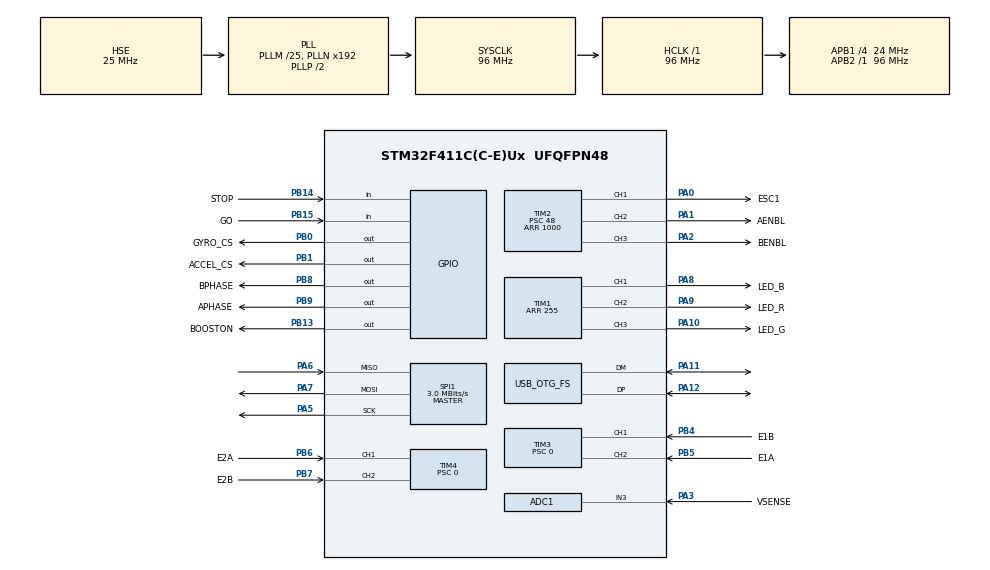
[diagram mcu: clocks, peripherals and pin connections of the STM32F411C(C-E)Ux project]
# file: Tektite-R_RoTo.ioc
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ADC1.Channel-0\#ChannelRegularConversion=ADC_CHANNEL_3
ADC1.NbrOfConversionFlag=1
ADC1.Rank-0\#ChannelRegularConversion=1
ADC1.SamplingTime-0\#ChannelRegularConversion=ADC_SAMPLETIME_3CYCLES
ADC1.master=1
Mcu.Family=STM32F4
Mcu.Name=STM32F411C(C-E)Ux
Mcu.Package=UFQFPN48
NVIC.OTG_FS_IRQn=true\:0\:0\:false\:false\:true\:false\:true\:true
NVIC.PriorityGroup=NVIC_PRIORITYGROUP_4
NimaLTD.I-CUBE-SPIF.2.3.1.DriverJjSPIF=true
NimaLTD.I-CUBE-SPIF.2.3.1.SPIF_DEBUG=SPIF_DEBUG_DISABLE
PA0-WKUP.GPIO_Label=ESC1
PA0-WKUP.Signal=S_TIM2_CH1_ETR
PA1.GPIO_Label=AENBL
PA1.Signal=S_TIM2_CH2
PA10.GPIO_Label=LED_G
PA10.Signal=S_TIM1_CH3
PA11.Mode=Device_Only
PA11.Signal=USB_OTG_FS_DM
PA12.Mode=Device_Only
PA12.Signal=USB_OTG_FS_DP
PA13.Mode=Serial_Wire
PA13.Signal=SYS_JTMS-SWDIO
PA14.Mode=Serial_Wire
PA14.Signal=SYS_JTCK-SWCLK
PA2.GPIO_Label=BENBL
PA2.Signal=S_TIM2_CH3
PA3.GPIO_Label=VSENSE
PA3.Signal=ADCx_IN3
PA5.Mode=Full_Duplex_Master
PA5.Signal=SPI1_SCK
PA6.Mode=Full_Duplex_Master
PA6.Signal=SPI1_MISO
PA7.Mode=Full_Duplex_Master
PA7.Signal=SPI1_MOSI
PA8.GPIO_Label=LED_B
PA8.Signal=S_TIM1_CH1
PA9.GPIO_Label=LED_R
PA9.Signal=S_TIM1_CH2
PB0.GPIO_Label=GYRO_CS
PB0.GPIO_Speed=GPIO_SPEED_FREQ_VERY_HIGH
PB0.PinState=GPIO_PIN_SET
PB0.Signal=GPIO_Output
PB1.GPIO_Label=ACCEL_CS
PB1.GPIO_Speed=GPIO_SPEED_FREQ_VERY_HIGH
PB1.PinState=GPIO_PIN_SET
PB1.Signal=GPIO_Output
PB13.GPIO_Label=BOOSTON
PB13.GPIO_PuPd=GPIO_PULLDOWN
PB13.Signal=GPIO_Output
PB14.GPIO_Label=STOP
PB14.GPIO_PuPd=GPIO_PULLUP
PB14.Signal=GPIO_Input
PB15.GPIO_Label=GO
PB15.GPIO_PuPd=GPIO_PULLUP
PB15.Signal=GPIO_Input
PB4.GPIO_Label=E1B
PB4.Signal=S_TIM3_CH1
PB5.GPIO_Label=E1A
PB5.Signal=S_TIM3_CH2
PB6.GPIO_Label=E2A
PB6.Signal=S_TIM4_CH1
PB7.GPIO_Label=E2B
PB7.Signal=S_TIM4_CH2
PB8.GPIO_Label=BPHASE
PB8.GPIO_Speed=GPIO_SPEED_FREQ_HIGH
PB8.Signal=GPIO_Output
PB9.GPIO_Label=APHASE
PB9.GPIO_Speed=GPIO_SPEED_FREQ_HIGH
PB9.Signal=GPIO_Output
PH0\ -\ OSC_IN.Mode=HSE-External-Oscillator
PH0\ -\ OSC_IN.Signal=RCC_OSC_IN
PH1\ -\ OSC_OUT.Mode=HSE-External-Oscillator
PH1\ -\ OSC_OUT.Signal=RCC_OSC_OUT
ProjectManager.HeapSize=0x200
ProjectManager.StackSize=0x400
ProjectManager.TargetToolchain=STM32CubeIDE
RCC.48MHZClocksFreq_Value=48000000
RCC.AHBFreq_Value=96000000
RCC.APB1CLKDivider=RCC_HCLK_DIV4
RCC.APB1Freq_Value=24000000
RCC.APB1TimFreq_Value=48000000
RCC.APB2Freq_Value=96000000
RCC.APB2TimFreq_Value=96000000
RCC.CortexFreq_Value=96000000
RCC.HCLKFreq_Value=96000000
RCC.HSE_VALUE=25000000
RCC.HSI_VALUE=16000000
RCC.LSE_VALUE=32768
RCC.PLLM=25
RCC.SYSCLKFreq_VALUE=96000000
RCC.SYSCLKSource=RCC_SYSCLKSOURCE_PLLCLK
RCC.VCOOutputFreq_Value=192000000
SH.ADCx_IN3.0=ADC1_IN3,IN3
SH.S_TIM1_CH1.0=TIM1_CH1,PWM Generation1 CH1
SH.S_TIM1_CH2.0=TIM1_CH2,PWM Generation2 CH2
SH.S_TIM1_CH3.0=TIM1_CH3,PWM Generation3 CH3
SH.S_TIM2_CH1_ETR.0=TIM2_CH1,PWM Generation1 CH1
SH.S_TIM2_CH2.0=TIM2_CH2,PWM Generation2 CH2
SH.S_TIM2_CH3.0=TIM2_CH3,PWM Generation3 CH3
SH.S_TIM3_CH1.0=TIM3_CH1,Encoder_Interface
SH.S_TIM3_CH2.0=TIM3_CH2,Encoder_Interface
SH.S_TIM4_CH1.0=TIM4_CH1,Encoder_Interface
SH.S_TIM4_CH2.0=TIM4_CH2,Encoder_Interface
SPI1.BaudRatePrescaler=SPI_BAUDRATEPRESCALER_32
SPI1.CalculateBaudRate=3.0 MBits/s
SPI1.DataSize=SPI_DATASIZE_8BIT
SPI1.Direction=SPI_DIRECTION_2LINES
SPI1.Mode=SPI_MODE_MASTER
SPI1.VirtualType=VM_MASTER
TIM1.AutoReloadPreload=TIM_AUTORELOAD_PRELOAD_ENABLE
TIM1.Channel-PWM\ Generation1\ CH1=TIM_CHANNEL_1
TIM1.Channel-PWM\ Generation2\ CH2=TIM_CHANNEL_2
TIM1.Channel-PWM\ Generation3\ CH3=TIM_CHANNEL_3
TIM1.Period=255
TIM2.Channel-PWM\ Generation1\ CH1=TIM_CHANNEL_1
TIM2.Channel-PWM\ Generation2\ CH2=TIM_CHANNEL_2
TIM2.Channel-PWM\ Generation3\ CH3=TIM_CHANNEL_3
TIM2.Period=1000
TIM2.Prescaler=48
TIM3.AutoReloadPreload=TIM_AUTORELOAD_PRELOAD_DISABLE
TIM3.CounterMode=TIM_COUNTERMODE_UP
TIM3.EncoderMode=TIM_ENCODERMODE_TI2
TIM3.IC1Filter=15
TIM3.IC2Filter=15
TIM3.Prescaler=0
TIM3.TIM_MasterOutputTrigger=TIM_TRGO_RESET
TIM4.AutoReloadPreload=TIM_AUTORELOAD_PRELOAD_DISABLE
TIM4.EncoderMode=TIM_ENCODERMODE_TI2
TIM4.IC1Filter=15
TIM4.IC2Filter=15
TIM4.Prescaler=0
USB_DEVICE.CLASS_NAME_FS=CDC
USB_DEVICE.VirtualMode=Cdc
USB_DEVICE.VirtualModeFS=Cdc_FS
USB_OTG_FS.VirtualMode=Device_Only
VP_NimaLTD.I-CUBE-SPIF_VS_DriverJjSPIF_1.0.0_2.3.1.Mode=DriverJjSPIF
VP_TIM1_VS_ClockSourceINT.Mode=Internal
VP_TIM2_VS_ClockSourceINT.Mode=Internal
VP_USB_DEVICE_VS_USB_DEVICE_CDC_FS.Mode=CDC_FS
board=custom

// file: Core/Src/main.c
/* USER CODE BEGIN Header */
/**
  ******************************************************************************
  * @file           : main.c
  * @brief          : Main program body
  ******************************************************************************
  * @attention
  *
  * Copyright (c) 2024 STMicroelectronics.
  * All rights reserved.
  *
  * This software is licensed under terms that can be found in the LICENSE file
  * in the root directory of this software component.
  * If no LICENSE file comes with this software, it is provided AS-IS.
  *
  ******************************************************************************
  */
/* USER CODE END Header */
#include "main.h"
#include "adc.h"
#include "spi.h"
#include "tim.h"
#include "usb_device.h"
#include "gpio.h"

/* USER CODE BEGIN Includes */
#include "peripheral.h"
#include "connection.h"
#include "control.h"
/* USER CODE END Includes */

void SystemClock_Config(void);

int main(void)
{

  /* MCU Configuration--------------------------------------------------------*/

  /* Reset of all peripherals, Initializes the Flash interface and the Systick. */
  HAL_Init();

  /* Configure the system clock */
  SystemClock_Config();

  /* Initialize all configured peripherals */
  MX_GPIO_Init();
  MX_SPI1_Init();
  MX_USB_DEVICE_Init();
  MX_TIM2_Init();
  MX_TIM1_Init();
  MX_ADC1_Init();
  MX_TIM3_Init();
  MX_TIM4_Init();
  /* USER CODE BEGIN 2 */
  PeripheralInit();
  ReadData();
  EncoderReset();

  /*uint32_t lastPrint = HAL_GetTick();
  bool moving = false;
  uint32_t currT = GetMicros();
  float ang = 0.0;*/

  float v = BattVoltage();

  /* USER CODE END 2 */

  /* Infinite loop */
  while (1)
  {

    /* USER CODE BEGIN 3 */
	ConnectionUpdate();
	if (v > 5.0) {
		LEDWrite(64, 64, 64);
	} else {
		LEDWrite(64, 0, 0);
	}

	if (GOPressed()) {
		while (GOPressed()) {
			LEDWrite(0, 255, 0);
			EncoderReset();
		}
		RunMoves();
		v = BattVoltage();
	} else if (STOPPressed()) {
		while (STOPPressed()) {
			LEDWrite(255, 0, 0);
		}
	}
	  /*if (GOPressed()) {
		  if (moving) {
		  	  M1Write(-0.15);
		  	  M2Write(-0.15);
		  } else {
			  while (GOPressed()) {
				  LEDWrite(0, 255, 0);
			  }
			  M1Write(0.15);
			  M2Write(0.15);
			  moving = true;
		  }
	  } else if (STOPPressed()) {
		  M1Write(0.0);
		  M2Write(0.0);
		  moving = false;
	  }
	  EncoderUpdate();
	  if (HAL_GetTick() - lastPrint > 50) {
		  lastPrint = HAL_GetTick();
		  printf("m1t:%d,m2t:%d,m1v:%f,m2v:%f,ang:%f\n", M1Ticks, M2Ticks, M1Vel, M2Vel, ang*57.32);
	  }

	  // 200Hz control loop w/ 10,000 hz angle measurement
	  uint32_t delayStart = HAL_GetTick();
	  while (HAL_GetTick() - delayStart < 5) {
		  uint32_t newT = GetMicros();
		  ang += ((float)(newT - currT))/1000000.0f * GetGZ();
		  currT = newT;
		  while (GetMicros() - currT < 100);
	  }*/
  }
  /* USER CODE END 3 */
}

void SystemClock_Config(void)
{
  RCC_OscInitTypeDef RCC_OscInitStruct = {0};
  RCC_ClkInitTypeDef RCC_ClkInitStruct = {0};

  /** Configure the main internal regulator output voltage
  */
  __HAL_RCC_PWR_CLK_ENABLE();
  __HAL_PWR_VOLTAGESCALING_CONFIG(PWR_REGULATOR_VOLTAGE_SCALE1);

  /** Initializes the RCC Oscillators according to the specified parameters
  * in the RCC_OscInitTypeDef structure.
  */
  RCC_OscInitStruct.OscillatorType = RCC_OSCILLATORTYPE_HSE;
  RCC_OscInitStruct.HSEState = RCC_HSE_ON;
  RCC_OscInitStruct.PLL.PLLState = RCC_PLL_ON;
  RCC_OscInitStruct.PLL.PLLSource = RCC_PLLSOURCE_HSE;
  RCC_OscInitStruct.PLL.PLLM = 25;
  RCC_OscInitStruct.PLL.PLLN = 192;
  RCC_OscInitStruct.PLL.PLLP = RCC_PLLP_DIV2;
  RCC_OscInitStruct.PLL.PLLQ = 4;
  if (HAL_RCC_OscConfig(&RCC_OscInitStruct) != HAL_OK)
  {
    Error_Handler();
  }

  /** Initializes the CPU, AHB and APB buses clocks
  */
  RCC_ClkInitStruct.ClockType = RCC_CLOCKTYPE_HCLK|RCC_CLOCKTYPE_SYSCLK
                              |RCC_CLOCKTYPE_PCLK1|RCC_CLOCKTYPE_PCLK2;
  RCC_ClkInitStruct.SYSCLKSource = RCC_SYSCLKSOURCE_PLLCLK;
  RCC_ClkInitStruct.AHBCLKDivider = RCC_SYSCLK_DIV1;
  RCC_ClkInitStruct.APB1CLKDivider = RCC_HCLK_DIV4;
  RCC_ClkInitStruct.APB2CLKDivider = RCC_HCLK_DIV1;

  if (HAL_RCC_ClockConfig(&RCC_ClkInitStruct, FLASH_LATENCY_3) != HAL_OK)
  {
    Error_Handler();
  }
}

/* USER CODE BEGIN 4 */
/**
  * @brief  Retargets the C library printf function to the USART.
  * @PAram  None
  * @retval None
  */
int _write(int file, char *ptr, int len) {
    CDC_Transmit_FS((uint8_t*) ptr, len); return len;
}
/* USER CODE END 4 */

void Error_Handler(void)
{
  __disable_irq();
  while (1)
  {
  }
}
